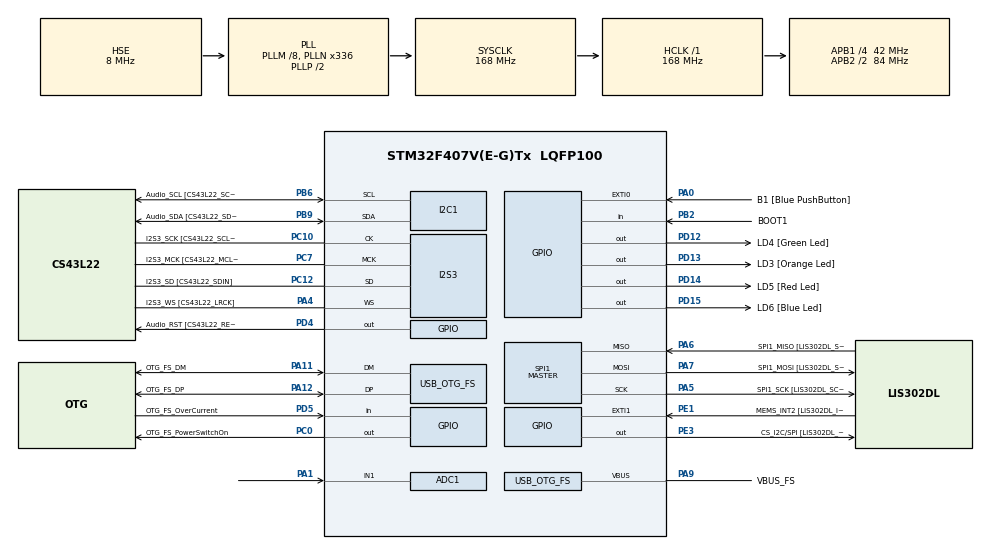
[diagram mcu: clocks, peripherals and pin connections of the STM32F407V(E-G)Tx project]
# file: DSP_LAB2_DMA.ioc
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ADC1.Channel-0\#ChannelRegularConversion=ADC_CHANNEL_1
ADC1.DMAContinuousRequests=ENABLE
ADC1.ExternalTrigConv=ADC_EXTERNALTRIGCONV_T3_TRGO
ADC1.NbrOfConversionFlag=1
ADC1.Rank-0\#ChannelRegularConversion=1
ADC1.SamplingTime-0\#ChannelRegularConversion=ADC_SAMPLETIME_3CYCLES
ADC1.master=1
Dma.ADC1.0.Direction=DMA_PERIPH_TO_MEMORY
Dma.ADC1.0.FIFOMode=DMA_FIFOMODE_DISABLE
Dma.ADC1.0.Instance=DMA2_Stream0
Dma.ADC1.0.MemDataAlignment=DMA_MDATAALIGN_HALFWORD
Dma.ADC1.0.MemInc=DMA_MINC_ENABLE
Dma.ADC1.0.Mode=DMA_CIRCULAR
Dma.ADC1.0.PeriphDataAlignment=DMA_PDATAALIGN_HALFWORD
Dma.ADC1.0.PeriphInc=DMA_PINC_DISABLE
Dma.ADC1.0.Priority=DMA_PRIORITY_LOW
Dma.Request0=ADC1
I2S3.AudioFreq-Half_Duplex_Master=I2S_AUDIOFREQ_96K
I2S3.ErrorAudioFreq=-2.34 %
I2S3.ErrorAudioFreq-Half_Duplex_Master=0.8 %
I2S3.FullDuplexMode=I2S_FULLDUPLEXMODE_DISABLE
I2S3.Instance=SPI$Index
I2S3.RealAudioFreq=93.75 KHz
I2S3.RealAudioFreq-Half_Duplex_Master=96.774 KHz
I2S3.VirtualMode=I2S_MODE_MASTER
Mcu.Family=STM32F4
Mcu.Name=STM32F407V(E-G)Tx
Mcu.Package=LQFP100
NVIC.DMA2_Stream0_IRQn=true\:0\:0\:false\:false\:true\:false\:true\:true
NVIC.OTG_FS_IRQn=true\:0\:0\:false\:false\:true\:true\:true\:true
NVIC.PriorityGroup=NVIC_PRIORITYGROUP_0
PA0-WKUP.GPIO_Label=B1 [Blue PushButton]
PA0-WKUP.GPIO_ModeDefaultEXTI=GPIO_MODE_EVT_RISING
PA0-WKUP.GPIO_PuPd=GPIO_NOPULL
PA0-WKUP.Signal=GPXTI0
PA1.Signal=ADCx_IN1
PA10.GPIO_Label=OTG_FS_ID
PA10.GPIO_Mode=GPIO_MODE_AF_PP
PA10.GPIO_PuPd=GPIO_NOPULL
PA10.GPIO_Speed=GPIO_SPEED_FREQ_LOW
PA10.Signal=USB_OTG_FS_ID
PA11.GPIO_Label=OTG_FS_DM
PA11.GPIO_Mode=GPIO_MODE_AF_PP
PA11.GPIO_PuPd=GPIO_NOPULL
PA11.GPIO_Speed=GPIO_SPEED_FREQ_LOW
PA11.Mode=Host_Only
PA11.Signal=USB_OTG_FS_DM
PA12.GPIO_Label=OTG_FS_DP
PA12.GPIO_Mode=GPIO_MODE_AF_PP
PA12.GPIO_PuPd=GPIO_NOPULL
PA12.GPIO_Speed=GPIO_SPEED_FREQ_LOW
PA12.Mode=Host_Only
PA12.Signal=USB_OTG_FS_DP
PA13.GPIO_Label=SWDIO
PA13.Mode=Serial_Wire
PA13.Signal=SYS_JTMS-SWDIO
PA14.GPIO_Label=SWCLK
PA14.Mode=Serial_Wire
PA14.Signal=SYS_JTCK-SWCLK
PA4.GPIO_Label=I2S3_WS [CS43L22_LRCK]
PA4.GPIO_Mode=GPIO_MODE_AF_PP
PA4.GPIO_PuPd=GPIO_NOPULL
PA4.GPIO_Speed=GPIO_SPEED_FREQ_LOW
PA4.Mode=Half_Duplex_Master
PA4.Signal=I2S3_WS
PA5.GPIO_Label=SPI1_SCK [LIS302DL_SCL/SPC]
PA5.GPIO_Mode=GPIO_MODE_AF_PP
PA5.GPIO_PuPd=GPIO_NOPULL
PA5.GPIO_Speed=GPIO_SPEED_FREQ_LOW
PA5.Mode=Full_Duplex_Master
PA5.Signal=SPI1_SCK
PA6.GPIO_Label=SPI1_MISO [LIS302DL_SDO]
PA6.GPIO_Mode=GPIO_MODE_AF_PP
PA6.GPIO_PuPd=GPIO_NOPULL
PA6.GPIO_Speed=GPIO_SPEED_FREQ_LOW
PA6.Mode=Full_Duplex_Master
PA6.Signal=SPI1_MISO
PA7.GPIO_Label=SPI1_MOSI [LIS302DL_SDA/SDI/SDO]
PA7.GPIO_Mode=GPIO_MODE_AF_PP
PA7.GPIO_PuPd=GPIO_NOPULL
PA7.GPIO_Speed=GPIO_SPEED_FREQ_LOW
PA7.Mode=Full_Duplex_Master
PA7.Signal=SPI1_MOSI
PA9.GPIO_Label=VBUS_FS
PA9.GPIO_Mode=GPIO_MODE_INPUT
PA9.GPIO_PuPd=GPIO_NOPULL
PA9.Mode=Activate_VBUS
PA9.Signal=USB_OTG_FS_VBUS
PB10.GPIO_Label=CLK_IN [MP45DT02_CLK]
PB10.GPIO_Mode=GPIO_MODE_AF_PP
PB10.GPIO_PuPd=GPIO_NOPULL
PB10.GPIO_Speed=GPIO_SPEED_FREQ_LOW
PB10.Signal=I2S2_CK
PB2.GPIO_Label=BOOT1
PB2.GPIO_Mode=GPIO_MODE_INPUT
PB2.GPIO_PuPd=GPIO_NOPULL
PB2.Signal=GPIO_Input
PB3.GPIO_Label=SWO
PB3.Signal=SYS_JTDO-SWO
PB6.GPIO_Label=Audio_SCL [CS43L22_SCL]
PB6.GPIO_Mode=GPIO_MODE_AF_OD
PB6.GPIO_Pu=GPIO_PULLUP
PB6.GPIO_PuPd=GPIO_NOPULL
PB6.GPIO_Speed=GPIO_SPEED_FREQ_LOW
PB6.Mode=I2C
PB6.Signal=I2C1_SCL
PB9.GPIO_Label=Audio_SDA [CS43L22_SDA]
PB9.GPIO_Mode=GPIO_MODE_AF_OD
PB9.GPIO_Pu=GPIO_PULLUP
PB9.GPIO_PuPd=GPIO_NOPULL
PB9.GPIO_Speed=GPIO_SPEED_FREQ_LOW
PB9.Mode=I2C
PB9.Signal=I2C1_SDA
PC0.GPIO_Label=OTG_FS_PowerSwitchOn
PC0.GPIO_PuPd=GPIO_NOPULL
PC0.GPIO_Speed=GPIO_SPEED_FREQ_LOW
PC0.PinState=GPIO_PIN_SET
PC0.Signal=GPIO_Output
PC10.GPIO_Label=I2S3_SCK [CS43L22_SCLK]
PC10.GPIO_Mode=GPIO_MODE_AF_PP
PC10.GPIO_PuPd=GPIO_NOPULL
PC10.GPIO_Speed=GPIO_SPEED_FREQ_LOW
PC10.Mode=Half_Duplex_Master
PC10.Signal=I2S3_CK
PC12.GPIO_Label=I2S3_SD [CS43L22_SDIN]
PC12.GPIO_Mode=GPIO_MODE_AF_PP
PC12.GPIO_PuPd=GPIO_NOPULL
PC12.GPIO_Speed=GPIO_SPEED_FREQ_LOW
PC12.Mode=Half_Duplex_Master
PC12.Signal=I2S3_SD
PC14-OSC32_IN.GPIO_Label=PC14-OSC32_IN
PC14-OSC32_IN.Mode=LSE-External-Oscillator
PC14-OSC32_IN.Signal=RCC_OSC32_IN
PC15-OSC32_OUT.GPIO_Label=PC15-OSC32_OUT
PC15-OSC32_OUT.Mode=LSE-External-Oscillator
PC15-OSC32_OUT.Signal=RCC_OSC32_OUT
PC3.GPIO_Label=PDM_OUT [MP45DT02_DOUT]
PC3.GPIO_Mode=GPIO_MODE_AF_PP
PC3.GPIO_PuPd=GPIO_NOPULL
PC3.GPIO_Speed=GPIO_SPEED_FREQ_LOW
PC3.Signal=I2S2_SD
PC7.GPIO_Label=I2S3_MCK [CS43L22_MCLK]
PC7.GPIO_Mode=GPIO_MODE_AF_PP
PC7.GPIO_PuPd=GPIO_NOPULL
PC7.GPIO_Speed=GPIO_SPEED_FREQ_LOW
PC7.Mode=Master_Clock_Activated
PC7.Signal=I2S3_MCK
PD12.GPIO_Label=LD4 [Green Led]
PD12.GPIO_PuPd=GPIO_NOPULL
PD12.GPIO_Speed=GPIO_SPEED_FREQ_LOW
PD12.Signal=GPIO_Output
PD13.GPIO_Label=LD3 [Orange Led]
PD13.GPIO_PuPd=GPIO_NOPULL
PD13.GPIO_Speed=GPIO_SPEED_FREQ_LOW
PD13.Signal=GPIO_Output
PD14.GPIO_Label=LD5 [Red Led]
PD14.GPIO_PuPd=GPIO_NOPULL
PD14.GPIO_Speed=GPIO_SPEED_FREQ_LOW
PD14.Signal=GPIO_Output
PD15.GPIO_Label=LD6 [Blue Led]
PD15.GPIO_PuPd=GPIO_NOPULL
PD15.GPIO_Speed=GPIO_SPEED_FREQ_LOW
PD15.Signal=GPIO_Output
PD4.GPIO_Label=Audio_RST [CS43L22_RESET]
PD4.GPIO_PuPd=GPIO_NOPULL
PD4.GPIO_Speed=GPIO_SPEED_FREQ_LOW
PD4.Signal=GPIO_Output
PD5.GPIO_Label=OTG_FS_OverCurrent
PD5.GPIO_Mode=GPIO_MODE_INPUT
PD5.GPIO_PuPd=GPIO_NOPULL
PD5.Signal=GPIO_Input
PE1.GPIO_Label=MEMS_INT2 [LIS302DL_INT2]
PE1.GPIO_ModeDefaultEXTI=GPIO_MODE_EVT_RISING
PE1.GPIO_PuPd=GPIO_NOPULL
PE1.Signal=GPXTI1
PE3.GPIO_Label=CS_I2C/SPI [LIS302DL_CS_I2C/SPI]
PE3.GPIO_PuPd=GPIO_NOPULL
PE3.GPIO_Speed=GPIO_SPEED_FREQ_LOW
PE3.Signal=GPIO_Output
PH0-OSC_IN.GPIO_Label=PH0-OSC_IN
PH0-OSC_IN.Mode=HSE-External-Oscillator
PH0-OSC_IN.Signal=RCC_OSC_IN
PH1-OSC_OUT.GPIO_Label=PH1-OSC_OUT
PH1-OSC_OUT.Mode=HSE-External-Oscillator
PH1-OSC_OUT.Signal=RCC_OSC_OUT
ProjectManager.HeapSize=0x200
ProjectManager.StackSize=0x400
ProjectManager.TargetToolchain=STM32CubeIDE
RCC.48MHZClocksFreq_Value=48000000
RCC.AHBFreq_Value=168000000
RCC.APB1CLKDivider=RCC_HCLK_DIV4
RCC.APB1Freq_Value=42000000
RCC.APB1TimFreq_Value=84000000
RCC.APB2CLKDivider=RCC_HCLK_DIV2
RCC.APB2Freq_Value=84000000
RCC.APB2TimFreq_Value=168000000
RCC.CortexFreq_Value=168000000
RCC.HCLKFreq_Value=168000000
RCC.HSE_VALUE=8000000
RCC.HSI_VALUE=16000000
RCC.PLLM=8
RCC.PLLN=336
RCC.PLLQ=7
RCC.SYSCLKFreq_VALUE=168000000
RCC.SYSCLKSource=RCC_SYSCLKSOURCE_PLLCLK
RCC.VCOOutputFreq_Value=336000000
SH.ADCx_IN1.0=ADC1_IN1,IN1
SPI1.BaudRatePrescaler-Full_Duplex_Master=SPI_BAUDRATEPRESCALER_2
SPI1.CalculateBaudRate-Full_Duplex_Master=42.0 MBits/s
SPI1.Direction=SPI_DIRECTION_2LINES
SPI1.Mode=SPI_MODE_MASTER
SPI1.Mode-Full_Duplex_Master=SPI_MODE_MASTER
SPI1.VirtualType=VM_MASTER
TIM3.Period=4
TIM3.Prescaler=20
TIM3.TIM_MasterOutputTrigger=TIM_TRGO_UPDATE
USB_HOST.BSP.number=1
USB_HOST.USBH_HandleTypeDef-CDC_FS=hUsbHostFS
USB_HOST.VirtualModeFS=Cdc
USB_HOST0.BSP.STBoard=false
USB_HOST0.BSP.api=Unknown
USB_HOST0.BSP.instance=PC0
USB_HOST0.BSP.ip=GPIO
USB_HOST0.BSP.mode=Output
USB_HOST0.BSP.name=Drive_VBUS_FS
USB_HOST0.BSP.solution=PC0
USB_OTG_FS.VirtualMode=Host_Only
USB_OTG_FS.phy_itface=HCD_PHY_EMBEDDED
VP_TIM3_VS_ClockSourceINT.Mode=Internal
VP_USB_HOST_VS_USB_HOST_CDC_FS.Mode=CDC_FS
board=STM32F407G-DISC1

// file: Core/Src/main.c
/* USER CODE BEGIN Header */
/**
  ******************************************************************************
  * @file           : main.c
  * @brief          : Main program body
  ******************************************************************************
  * @attention
  *
  * Copyright (c) 2022 STMicroelectronics.
  * All rights reserved.
  *
  * This software is licensed under terms that can be found in the LICENSE file
  * in the root directory of this software component.
  * If no LICENSE file comes with this software, it is provided AS-IS.
  *
  ******************************************************************************
  */
/* USER CODE END Header */
#include "main.h"
#include "adc.h"
#include "dma.h"
#include "i2c.h"
#include "i2s.h"
#include "spi.h"
#include "tim.h"
#include "usb_host.h"
#include "gpio.h"

void SystemClock_Config(void);
void MX_USB_HOST_Process(void);

/* USER CODE BEGIN 0 */
#define BUFFER_SIZE 16
#define SIZE_AFTER_OVERS 300
int16_t Buffer[BUFFER_SIZE];
int32_t Buffer_oversampled[SIZE_AFTER_OVERS];
uint16_t index = 0;

void HAL_ADC_ConvCpltCallback(ADC_HandleTypeDef* hadc)
{
	int32_t sum = 0;
	for(int overs_index = 0 ; overs_index<BUFFER_SIZE ; overs_index++)
	{
		sum += Buffer[overs_index];
	}
	Buffer_oversampled[index] = sum / 16;
	index++;
	if(index == SIZE_AFTER_OVERS)
		index = 0;
}

/* USER CODE END 0 */

int main(void)
{

  /* MCU Configuration--------------------------------------------------------*/

  /* Reset of all peripherals, Initializes the Flash interface and the Systick. */
  HAL_Init();

  /* Configure the system clock */
  SystemClock_Config();

  /* Initialize all configured peripherals */
  MX_GPIO_Init();
  MX_DMA_Init();
  MX_I2C1_Init();
  MX_I2S3_Init();
  MX_SPI1_Init();
  MX_USB_HOST_Init();
  MX_ADC1_Init();
  MX_TIM3_Init();
  /* USER CODE BEGIN 2 */
  for(int i = 0 ; i<BUFFER_SIZE ; i++)
  {
	  Buffer[i] = 0;
  }

  HAL_ADC_Start_DMA(&hadc1, (uint32_t*)Buffer, BUFFER_SIZE);
  HAL_TIM_Base_Start(&htim3) ;

  /* USER CODE END 2 */

  /* Infinite loop */
  while (1)
  {
    MX_USB_HOST_Process();

  }
}

void SystemClock_Config(void)
{
  RCC_OscInitTypeDef RCC_OscInitStruct = {0};
  RCC_ClkInitTypeDef RCC_ClkInitStruct = {0};

  /** Configure the main internal regulator output voltage
  */
  __HAL_RCC_PWR_CLK_ENABLE();
  __HAL_PWR_VOLTAGESCALING_CONFIG(PWR_REGULATOR_VOLTAGE_SCALE1);

  /** Initializes the RCC Oscillators according to the specified parameters
  * in the RCC_OscInitTypeDef structure.
  */
  RCC_OscInitStruct.OscillatorType = RCC_OSCILLATORTYPE_HSE;
  RCC_OscInitStruct.HSEState = RCC_HSE_ON;
  RCC_OscInitStruct.PLL.PLLState = RCC_PLL_ON;
  RCC_OscInitStruct.PLL.PLLSource = RCC_PLLSOURCE_HSE;
  RCC_OscInitStruct.PLL.PLLM = 8;
  RCC_OscInitStruct.PLL.PLLN = 336;
  RCC_OscInitStruct.PLL.PLLP = RCC_PLLP_DIV2;
  RCC_OscInitStruct.PLL.PLLQ = 7;
  if (HAL_RCC_OscConfig(&RCC_OscInitStruct) != HAL_OK)
  {
    Error_Handler();
  }

  /** Initializes the CPU, AHB and APB buses clocks
  */
  RCC_ClkInitStruct.ClockType = RCC_CLOCKTYPE_HCLK|RCC_CLOCKTYPE_SYSCLK
                              |RCC_CLOCKTYPE_PCLK1|RCC_CLOCKTYPE_PCLK2;
  RCC_ClkInitStruct.SYSCLKSource = RCC_SYSCLKSOURCE_PLLCLK;
  RCC_ClkInitStruct.AHBCLKDivider = RCC_SYSCLK_DIV1;
  RCC_ClkInitStruct.APB1CLKDivider = RCC_HCLK_DIV4;
  RCC_ClkInitStruct.APB2CLKDivider = RCC_HCLK_DIV2;

  if (HAL_RCC_ClockConfig(&RCC_ClkInitStruct, FLASH_LATENCY_5) != HAL_OK)
  {
    Error_Handler();
  }
}

void Error_Handler(void)
{
  __disable_irq();
  while (1)
  {
  }
}
